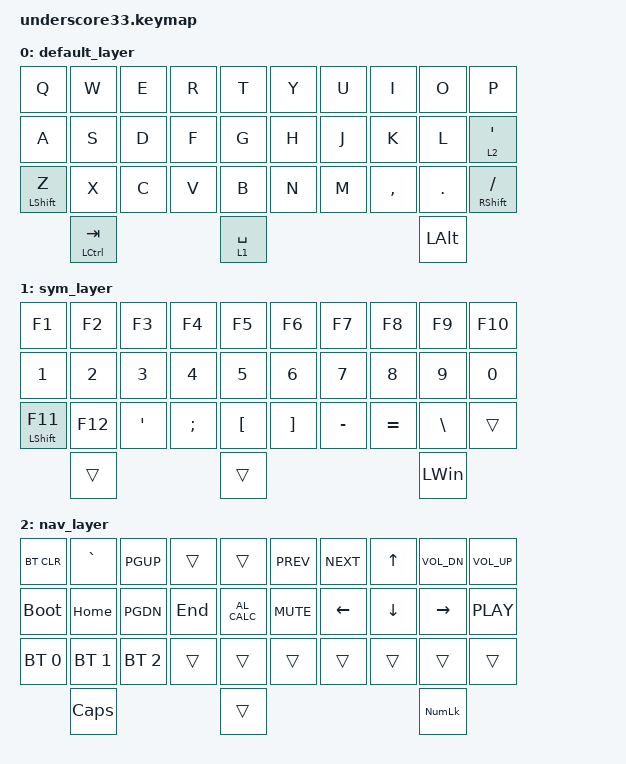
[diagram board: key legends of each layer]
/*
 * Copyright (c) 2020 The ZMK Contributors
 *
 * SPDX-License-Identifier: MIT
 */

// This key-map file WILL NOT WORK FOR YOU, you will need to modify it. I really do not recommend adapting to it.
// This key-map file is set-up to be the full space layout.
// I strongly urge you to customise your firmware to suit your usage.
// Please feel free to join the ZMK server at https://discord.gg/TdRMQaTYdF for help.

#include <behaviors.dtsi>
#include <dt-bindings/zmk/keys.h>
#include <dt-bindings/zmk/bt.h>

/ {

behaviors {
      hm: homerow_mods {
        compatible = "zmk,behavior-hold-tap";
        label = "HOMEROW_MODS";
        #binding-cells = <2>;
        tapping_term_ms = <300>;
        flavor = "tap-preferred";
        bindings = <&kp>, <&kp>;
    };

    combos {
    compatible = "zmk,combos";
    combo_del {
        timeout-ms = <50>;
        key-positions = <28 29>;
        bindings = <&kp DEL>;
        layers = <0 1 2>;
    };
    combo_ent {
        timeout-ms = <50>;
        key-positions = <18 19>;
        bindings = <&kp RET>;
        layers = <0 1 2>;
    };
    combo_ent2 {
        timeout-ms = <50>;
        key-positions = <20 21>;
        bindings = <&kp RET>;
        layers = <0 1 2>;
    };
    combo_bspc {
        timeout-ms = <40>;
        key-positions = <8 9>;
        bindings = <&kp BKSP>;
        layers = <0 1 2>;
    };
    combo_esc {
        timeout-ms = <50>;
        key-positions = <0 1>;
        bindings = <&kp ESC>;
        layers = <0 1 2>;

    };
};

};
        keymap {
                compatible = "zmk,keymap";

                default_layer {
// -----------------------------------------------------------------------------------------
// |  Q  |  W  |  E  |  R  |  T   |  Y  |  U   |  I  |  O  |  P  |
// |  A  |  S  |  D  |  F  |  G   |  H  |  J   |  K  |  L  |  ;  |
// |  Z  |  X  |  C  |  V  |  B   |  N  |  M   |  ,  |  .  |  /  |
//             | CTL |            | SPC |      | ALT |
                        bindings = <
   &kp Q       &kp W &kp E &kp R &kp T   &kp Y &kp U  &kp I     &kp O   &kp P
   &kp A       &kp S &kp D &kp F &kp G   &kp H &kp J  &kp K     &kp L   &lt 2 APOS
   &mt LSHFT Z &kp X &kp C &kp V &kp B   &kp N &kp M  &kp COMMA &kp DOT &mt RSHFT FSLH
               &mt LCTRL TAB      &lt 1 SPC                     &kp LALT
                        >;
                };

                sym_layer {
// -----------------------------------------------------------------------------------------
// |  1  |  2  |  3  |  4  |  5  |  6  |  7  |  8  |  9  |  0  |
// |  !  |  @  |  #  |  $  |  %  |  ^  |  &  |  *  |  =  |  -  |
// |  \  |  {  |  [  |  (  |  _  |  )  |  ]  |  }  |  .  |  `  |
//             | CTL | ALT |  ENT | SPC | GUI  | CTL |
                        bindings = <
   &kp F1        &kp F2    &kp F3    &kp F4      &kp F5      &kp F6    &kp F7    &kp F8    &kp F9     &kp F10
   &kp N1        &kp N2    &kp N3    &kp N4      &kp N5      &kp N6    &kp N7    &kp N8    &kp N9     &kp N0
   &mt LSHFT F11 &kp F12  &kp APOS  &kp SEMI     &kp LBKT    &kp RBKT  &kp MINUS &kp EQUAL &kp BSLH   &trans
   &trans    &trans    &kp LWIN
                        >;
                };

                nav_layer {
// -----------------------------------------------------------------------------------------
// |BTCLR| RST |     |      |     |      | PGDN |  UP  | PGUP |      |
// | BT0 |CMENU|     |      |     | HOME | LEFT | DOWN |RIGHT | END  |
// | BT1 | BOOT|     |      |     |      |      |      |      |      |
//             | CTL | ALT |  ENT | SPC | GUI  | CTL |
                        bindings = <
   &bt BT_CLR   &kp GRAVE      &kp PGUP       &trans  &trans     &kp C_PREV    &kp C_NEXT    &kp UP    &kp C_VOL_DN    &kp C_VOL_UP
   &bootloader  &kp HOME       &kp PGDN       &kp END &kp C_AL_CALC     &kp C_MUTE    &kp LEFT  &kp DOWN  &kp RIGHT &kp C_PLAY
   &bt BT_SEL 0 &bt BT_SEL 1   &bt BT_SEL 2   &trans  &trans     &trans    &trans    &trans    &trans    &trans
   &kp CAPS       &trans    &kp KP_NUM
                        >;
                };


        };
};
